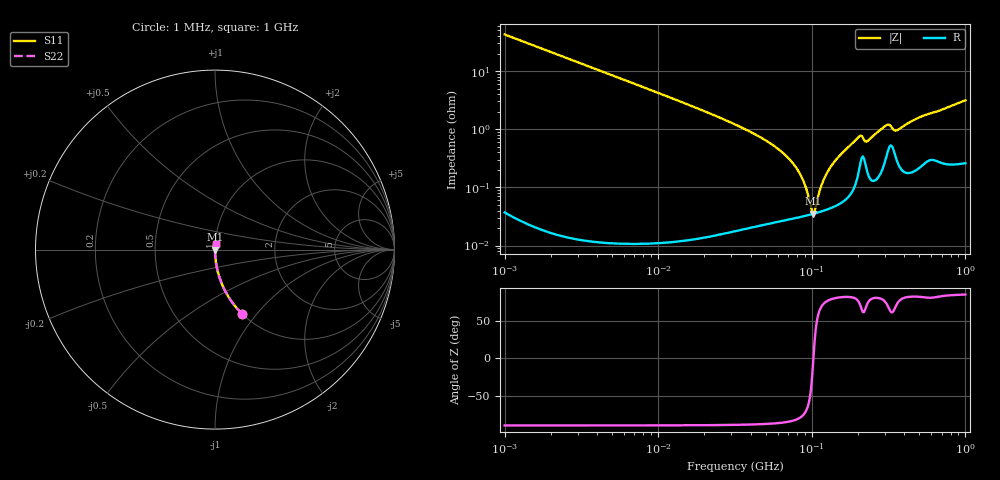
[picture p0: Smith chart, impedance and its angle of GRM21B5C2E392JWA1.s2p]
!Murata Part Number: GRM21B5C2E392JWA1
!These Parameters are Measured in Series Mode Connection
!Data Generated on Mar 30, 2021
!  o--ll--o
!Port1  Port2
!  o------o
!Operation Temp=25[degC], DC Bias Voltage=0[V]
!Freq. Start=1000[kHz] Stop=1000[MHz] 401[Steps]
# Hz S RI R 50
!Freq.(Hz) S11(Real) S11(Imag) S21(Real) S21(Imag) S12(Real) S12(Imag) S22(Real) S22(Imag)
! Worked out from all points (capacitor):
!   401 points, 1 MHz to 1 GHz, reference 50 ohm
!   read as one part in series: C = 3.74 nF near 1.035 MHz
!   lowest |Z| = 35.1 mohm at 102.3 MHz (marker M1)
!   series resonance near 102.5 MHz, so ESL is about 640 pH
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1000000  0.1532 -0.3597  0.8468 0.3597  0.8468 0.3597  0.1532 -0.3597
1678804  0.0604 -0.2378  0.9396 0.2378  0.9396 0.2378  0.0604 -0.2378
3180534  0.0176 -0.1311  0.9824 0.1311  0.9824 0.1311  0.0176 -0.1311
1.01158e7  0.00183 -0.0415  0.9982 0.0415  0.9982 0.0415  0.00183 -0.0415
3.162278e7  0.000322 -0.0121  0.9997 0.0121  0.9997 0.0121  0.000322 -0.0121
5.217951e7  0.000272 -0.00599  0.9997 0.00599  0.9997 0.00599  0.000272 -0.00599
7.24436e7  0.000292 -0.00292  0.9997 0.00292  0.9997 0.00292  0.000292 -0.00292
8.035261e7  0.000305 -0.00203  0.9997 0.00203  0.9997 0.00203  0.000305 -0.00203
8.759917e7  0.000318 -0.0013  0.9997 0.0013  0.9997 0.0013  0.000318 -0.0013
1.005773e8  0.000347 -0.000153  0.9997 0.000153  0.9997 0.000153  0.000347 -0.000153
1.023293e8  0.000351 -9.8e-06  0.9996 9.8e-06  0.9996 9.8e-06  0.000351 -9.8e-06
1.059254e8  0.00036 0.000278  0.9996 -0.000278  0.9996 -0.000278  0.00036 0.000278
1.135011e8  0.000381 0.000858  0.9996 -0.000858  0.9996 -0.000858  0.000381 0.000858
1.216186e8  0.000405 0.00145  0.9996 -0.00145  0.9996 -0.00145  0.000405 0.00145
1.496236e8  0.000521 0.00333  0.9995 -0.00333  0.9995 -0.00333  0.000521 0.00333
2.041738e8  0.00217 0.00722  0.9978 -0.00722  0.9978 -0.00722  0.00217 0.00722
2.304093e8  0.00182 0.00596  0.9982 -0.00596  0.9982 -0.00596  0.00182 0.00596
2.985383e8  0.0028 0.0108  0.9972 -0.0108  0.9972 -0.0108  0.0028 0.0108
3.198895e8  0.00503 0.0107  0.995 -0.0107  0.995 -0.0107  0.00503 0.0107
3.60994e8  0.0028 0.00921  0.9972 -0.00921  0.9972 -0.00921  0.0028 0.00921
5.099176e8  0.00249 0.0161  0.9975 -0.0161  0.9975 -0.0161  0.00249 0.0161
1e9  0.00357 0.0311  0.9964 -0.0311  0.9964 -0.0311  0.00357 0.0311
